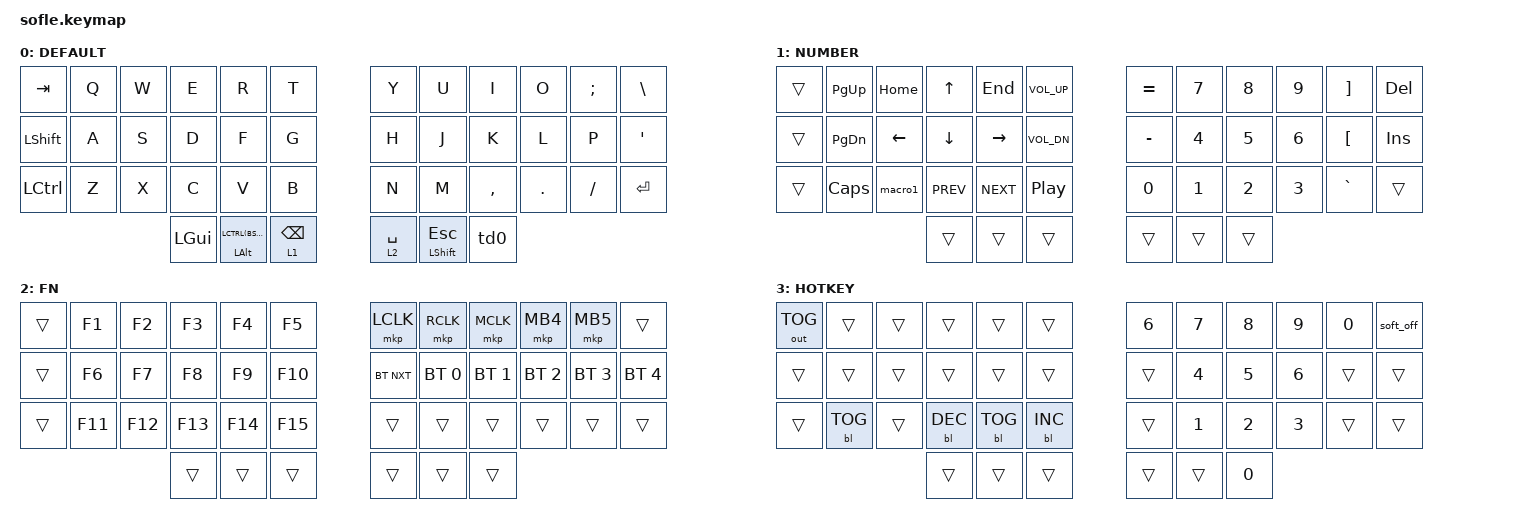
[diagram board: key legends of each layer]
/*
 * Copyright (c) 2023 The ZMK Contributors
 *
 * SPDX-License-Identifier: MIT
 */

#include <behaviors.dtsi>
#include <dt-bindings/zmk/keys.h>
#include <dt-bindings/zmk/bt.h>
#include <dt-bindings/zmk/outputs.h>
#include <dt-bindings/zmk/backlight.h>
#include <dt-bindings/zmk/ext_power.h>
#define ZMK_POINTING_DEFAULT_SCRL_VAL 100
#include <dt-bindings/zmk/pointing.h>

// Helpful macros borrowed from AndrewMSHowe
#define ___ &trans

// Layer numbers for use by the keymap & macros

#define DEFAULT 0
#define NUMBER  1
#define FN      2
#define HOTKEY  3



/ {
   behaviors {
        td0: tap_dance_0 {
            compatible = "zmk,behavior-tap-dance";
            #binding-cells = <0>;
            tapping-term-ms = <200>;
            bindings = <&to 0>, <&to 1>, <&to 2>;
        };
    };

    macros {
        macro1: toggle_hdr {
            compatible = "zmk,behavior-macro";
            #binding-cells = <0>;
            bindings
                = <&macro_press &kp LGUI>
                , <&macro_wait_time 200>
                , <&macro_press &kp LALT>
                , <&macro_wait_time 200>
                , <&macro_tap &kp B>
                , <&macro_release &kp LGUI>
                , <&macro_release &kp LALT>
                ;
        };
    };

    keymap {
        compatible = "zmk,keymap";

        windows_default_layer {
            label = "DEFAULT";
            bindings = <
// ╭───────────────┬───────────────┬───────────────┬───────────────┬───────────────┬───────────────╮                                 ╭───────────────┬───────────────┬───────────────┬───────────────┬───────────────┬───────────────╮
       &kp TAB        &kp Q            &kp W           &kp E           &kp R           &kp T     /*|                                 |*/  &kp Y          &kp U           &kp I           &kp O           &kp SEMI       &kp BSLH
       &kp LSHIFT     &kp A            &kp S           &kp D           &kp F           &kp G     /*├─────────────╮     ╭─────────────┤*/  &kp H          &kp J           &kp K           &kp L           &kp P          &kp SQT
       &kp LCTRL      &kp Z            &kp X           &kp C           &kp V           &kp B                                              &kp N          &kp M           &kp COMMA       &kp DOT         &kp FSLH       &kp ENTER
/* ╰───────────────┴───────────────┤*/                                 &kp LGUI   &mt LALT LCTRL(BSPC) &lt 1 BSPC        &lt 2 SPACE   &mt LSHIFT ESC    &td0                                      //├───────────────┴───────────────╯
//                                 ╰───────────────┴───────────────┴───────────────┴───────────────┴─────────────╯     ╰─────────────┴───────────────┴───────────────┴───────────────┴───────────────╯
            >;
        };

        windows_symbols_layer {
            label = "NUMBER";
            bindings = <
// ╭───────────────┬───────────────┬───────────────┬───────────────┬───────────────┬───────────────╮                                 ╭───────────────┬───────────────┬───────────────┬───────────────┬───────────────┬───────────────╮
       &trans          &kp PG_UP       &kp HOME        &kp UP          &kp END      &kp C_VOL_UP /*|                                 |*/  &kp EQUAL        &kp N7          &kp N8          &kp N9          &kp RBKT        &kp DEL
       ___             &kp PG_DN       &kp LEFT        &kp DOWN        &kp RIGHT    &kp C_VOL_DN /*├─────────────╮     ╭─────────────┤*/  &kp MINUS        &kp N4          &kp N5          &kp N6          &kp LBKT        &kp INS
       ___             &kp CAPS        &macro1         &kp C_PREV      &kp C_NEXT        &kp C_PP                                          &kp N0          &kp N1          &kp N2          &kp N3          &kp GRAVE       &trans
/* ╰───────────────┴───────────────┤*/                                 &trans            &trans         &trans              &trans         &trans          &trans                                  //├───────────────┴───────────────╯
//                                 ╰───────────────┴───────────────┴───────────────┴───────────────┴─────────────╯     ╰─────────────┴───────────────┴───────────────┴───────────────┴───────────────╯
            >;
        };

        numpad_layer {
            label = "FN";
            
            bindings = <
// ╭───────────────┬───────────────┬───────────────┬───────────────┬───────────────┬───────────────╮                                 ╭───────────────┬───────────────┬───────────────┬───────────────┬───────────────┬───────────────╮
       ___             &kp F1          &kp F2          &kp F3          &kp F4          &kp F5    /*|                                 |*/   &mkp LCLK     &mkp RCLK       &mkp MCLK        &mkp MB4       &mkp MB5         &trans
       ___             &kp F6          &kp F7          &kp F8          &kp F9          &kp F10   /*├─────────────╮     ╭─────────────┤*/   &bt BT_NXT    &bt BT_SEL 0    &bt BT_SEL 1     &bt BT_SEL 2   &bt BT_SEL 3     &bt BT_SEL 4
       ___             &kp F11         &kp F12         &kp F13         &kp F14         &kp F15                                             &trans        &trans          &trans           &trans         &trans           &trans
/* ╰───────────────┴───────────────┤*/                                 &trans            &trans         &trans              &trans         &trans          &trans                                  //├───────────────┴───────────────╯
//                                 ╰───────────────┴───────────────┴───────────────┴───────────────┴─────────────╯     ╰─────────────┴───────────────┴───────────────┴───────────────┴───────────────╯
            >;
      };



      settings_layer {
            label = "HOTKEY";
            bindings = <
// ╭───────────────┬───────────────┬───────────────┬───────────────┬───────────────┬────────────────╮                                 ╭───────────────┬───────────────┬───────────────┬───────────────┬───────────────┬───────────────╮
      &out OUT_TOG     ___     ___      ___     ___      ___ /*|                                 |*/   &kp N6         &kp N7          &kp N8          &kp N9          &kp N0          &soft_off
      ___              ___             ___             ___             ___             ___        /*├─────────────╮     ╭─────────────┤*/   ___            &kp N4          &kp N5          &kp N6          ___             ___
      ___              &bl BL_TOG      ___   &bl BL_DEC      &bl BL_TOG      &bl BL_INC                                           ___            &kp N1          &kp N2          &kp N3          ___             ___
/* ╰───────────────┴───────────────┤*/                                    ___              ___         ___                  ___             ___            &kp N0                //├───────────────┴───────────────╯
//                                 ╰───────────────┴───────────────┴───────────────┴────────────────┴─────────────╯     ╰─────────────┴───────────────┴───────────────┴───────────────┴───────────────╯   
            >;
        };
    };
